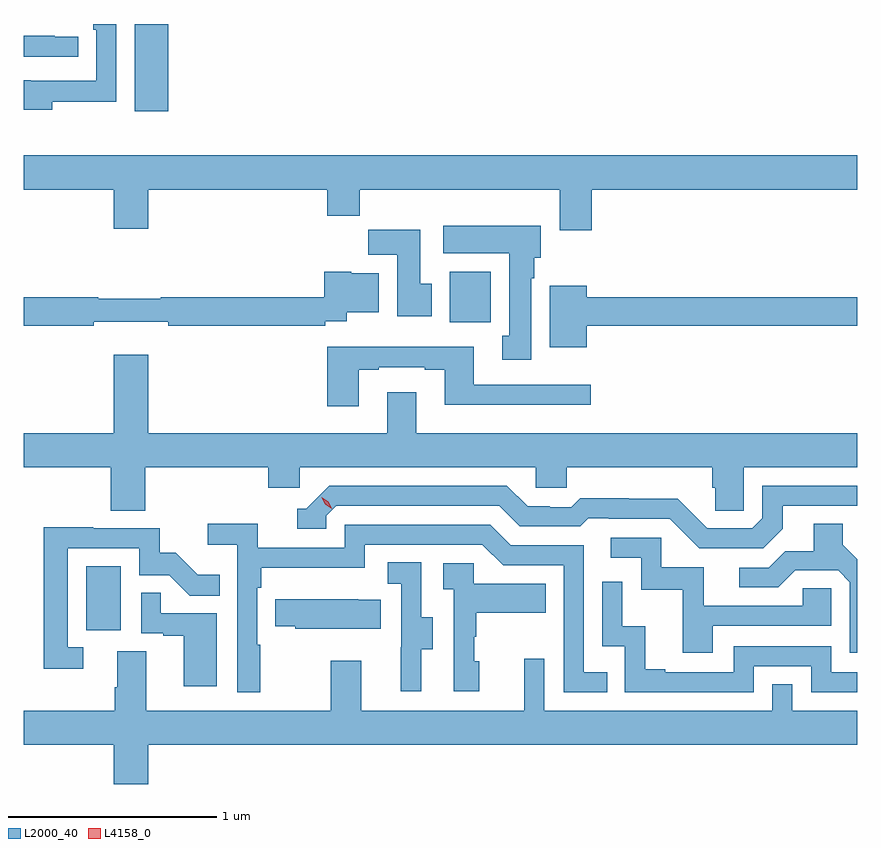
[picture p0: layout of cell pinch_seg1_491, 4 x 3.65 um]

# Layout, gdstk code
import gdstk
lib = gdstk.Library(unit=1e-6, precision=1e-09)
def R(c, l, rs):  # rectangles x0, y0, x1, y1
    for r in rs: c.add(gdstk.rectangle(r[:2], r[2:], *l))
def P(c, l, *ps):  # polygons
    for p in ps: c.add(gdstk.Polygon(p, *l))
L2000_40 = (2000, 40)
L4158_0 = (4158, 0)

pinch_seg1_491 = lib.new_cell('pinch_seg1_491')
R(pinch_seg1_491, L2000_40, [(1141.898,537.63,1142.062,537.937), (1143.641,539.108,1143.838,539.35), (1142.129,540.12,1142.29,540.539)])
P(pinch_seg1_491, L2000_40, [(1141.735,540.166),(1142.04,540.166),(1142.04,540.539),(1141.931,540.539),(1141.931,540.512),(1141.944,540.512),(1141.944,540.267),(1141.631,540.267),(1141.631,540.268),(1141.597,540.268),(1141.597,540.128),(1141.735,540.128)],
  [(1141.858,540.477),(1141.745,540.477),(1141.745,540.482),(1141.597,540.482),(1141.597,540.381),(1141.858,540.381)],
  [(1144.322,539.744),(1145.597,539.744),(1145.597,539.908),(1141.597,539.908),(1141.597,539.744),(1142.03,539.744),(1142.03,539.556),(1142.194,539.556),(1142.194,539.744),(1143.053,539.744),(1143.053,539.62),(1143.209,539.62),(1143.209,539.744),(1144.169,539.744),(1144.169,539.55),(1144.322,539.55)],
  [(1144.033,539.318),(1144.048,539.318),(1144.048,539.418),(1144.078,539.418),(1144.078,539.572),(1143.609,539.572),(1143.609,539.438),(1143.926,539.438),(1143.926,539.042),(1143.893,539.042),(1143.893,538.929),(1144.033,538.929)],
  [(1143.556,539.292),(1143.499,539.292),(1143.499,539.551),(1143.25,539.551),(1143.25,539.432),(1143.389,539.432),(1143.389,539.136),(1143.556,539.136)],
  [(1141.934,539.111),(1142.29,539.111),(1142.29,539.092),(1143.044,539.092),(1143.044,539.112),(1143.147,539.112),(1143.147,539.156),(1143.301,539.156),(1143.301,539.344),(1143.168,539.344),(1143.168,539.35),(1143.039,539.35),(1143.039,539.228),(1142.254,539.228),(1142.254,539.221),(1141.954,539.221),(1141.954,539.228),(1141.597,539.228),(1141.597,539.092),(1141.934,539.092)],
  [(1144.3,539.092),(1145.597,539.092),(1145.597,539.228),(1144.3,539.228),(1144.3,539.284),(1144.121,539.284),(1144.121,538.988),(1144.3,538.988)],
  [(1143.205,538.881),(1143.301,538.881),(1143.301,538.893),(1143.521,538.893),(1143.521,538.881),(1143.617,538.881),(1143.617,538.712),(1144.318,538.712),(1144.318,538.809),(1143.757,538.809),(1143.757,538.99),(1143.053,538.99),(1143.053,538.704),(1143.205,538.704)],
  [(1142.18,538.412),(1142.771,538.412),(1142.771,538.314),(1142.922,538.314),(1142.922,538.412),(1144.053,538.412),(1144.053,538.314),(1144.203,538.314),(1144.203,538.412),(1144.901,538.412),(1144.901,538.314),(1144.915,538.314),(1144.915,538.204),(1145.052,538.204),(1145.052,538.412),(1145.597,538.412),(1145.597,538.576),(1143.481,538.576),(1143.481,538.771),(1143.341,538.771),(1143.341,538.576),(1142.194,538.576),(1142.194,538.951),(1142.03,538.951),(1142.03,538.576),(1141.597,538.576),(1141.597,538.412),(1142.015,538.412),(1142.015,538.204),(1142.18,538.204)],
  [(1145.239,538.117),(1145.239,538.227),(1145.597,538.227),(1145.597,538.323),(1145.142,538.323),(1145.142,538.167),(1145.094,538.119),(1144.878,538.119),(1144.736,538.261),(1144.5,538.261),(1144.5,538.264),(1144.267,538.264),(1144.225,538.221),(1144.122,538.221),(1144.122,538.224),(1144.015,538.224),(1143.916,538.323),(1143.063,538.323),(1142.952,538.212),(1142.909,538.212),(1142.909,538.116),(1143.048,538.116),(1143.048,538.179),(1143.096,538.227),(1143.879,538.227),(1143.978,538.128),(1144.267,538.128),(1144.306,538.167),(1144.405,538.167),(1144.405,538.164),(1144.698,538.164),(1144.839,538.023),(1145.145,538.023)],
  [(1142.731,537.56),(1142.718,537.56),(1142.718,537.833),(1142.738,537.833),(1142.738,537.929),(1143.234,537.929),(1143.234,538.041),(1143.798,538.041),(1143.897,537.942),(1144.188,537.942),(1144.188,537.333),(1144.397,537.333),(1144.397,537.429),(1144.284,537.429),(1144.284,538.038),(1143.934,538.038),(1143.835,538.137),(1143.138,538.137),(1143.138,538.026),(1142.72,538.026),(1142.72,538.142),(1142.481,538.142),(1142.481,538.04),(1142.622,538.04),(1142.622,537.333),(1142.731,537.333)],
  [(1145.597,537.97),(1145.527,538.04),(1145.527,538.142),(1145.387,538.142),(1145.387,538.01),(1145.252,538.01),(1145.172,537.93),(1145.031,537.93),(1145.031,537.837),(1145.218,537.837),(1145.299,537.918),(1145.505,537.918),(1145.562,537.861),(1145.562,537.522),(1145.597,537.522)],
  [(1141.882,537.549),(1141.809,537.549),(1141.809,538.023),(1142.151,538.023),(1142.151,537.894),(1142.295,537.894),(1142.393,537.796),(1142.537,537.796),(1142.537,537.895),(1142.433,537.895),(1142.326,538.002),(1142.25,538.002),(1142.25,538.119),(1141.931,538.119),(1141.931,538.124),(1141.693,538.124),(1141.693,537.444),(1141.882,537.444)],
  [(1144.903,537.651),(1145.472,537.651),(1145.472,537.831),(1145.335,537.831),(1145.335,537.747),(1144.861,537.747),(1144.861,537.933),(1144.656,537.933),(1144.656,538.074),(1144.413,538.074),(1144.413,537.978),(1144.56,537.978),(1144.56,537.825),(1144.759,537.825),(1144.759,537.522),(1144.903,537.522)],
  [(1143.505,537.538),(1143.559,537.538),(1143.559,537.693),(1143.504,537.693),(1143.504,537.956),(1143.345,537.956),(1143.345,537.853),(1143.408,537.853),(1143.408,537.549),(1143.407,537.549),(1143.407,537.336),(1143.505,537.336)],
  [(1143.784,537.48),(1143.759,537.48),(1143.759,537.599),(1143.769,537.599),(1143.769,537.713),(1144.103,537.713),(1144.103,537.853),(1143.756,537.853),(1143.756,537.951),(1143.609,537.951),(1143.609,537.827),(1143.66,537.827),(1143.66,537.336),(1143.784,537.336)],
  [(1145.1,537.456),(1145.376,537.456),(1145.376,537.333),(1145.597,537.333),(1145.597,537.429),(1145.472,537.429),(1145.472,537.552),(1145.004,537.552),(1145.004,537.429),(1144.675,537.429),(1144.675,537.442),(1144.58,537.442),(1144.58,537.65),(1144.47,537.65),(1144.47,537.862),(1144.374,537.862),(1144.374,537.552),(1144.482,537.552),(1144.482,537.333),(1145.1,537.333)],
  [(1142.524,537.711),(1142.255,537.711),(1142.255,537.809),(1142.16,537.809),(1142.16,537.615),(1142.267,537.615),(1142.267,537.603),(1142.366,537.603),(1142.366,537.36),(1142.524,537.36)],
  [(1143.311,537.775),(1143.203,537.775),(1143.203,537.778),(1142.803,537.778),(1142.803,537.649),(1142.901,537.649),(1142.901,537.638),(1143.311,537.638)],
  [(1142.194,537.08),(1145.597,537.08),(1145.597,537.244),(1145.286,537.244),(1145.286,537.371),(1145.19,537.371),(1145.19,537.244),(1144.095,537.244),(1144.095,537.493),(1143.998,537.493),(1143.998,537.244),(1143.217,537.244),(1143.217,537.484),(1143.07,537.484),(1143.07,537.244),(1142.185,537.244),(1142.185,537.53),(1142.045,537.53),(1142.045,537.356),(1142.033,537.356),(1142.033,537.244),(1141.597,537.244),(1141.597,537.08),(1142.03,537.08),(1142.03,536.892),(1142.194,536.892)])
P(pinch_seg1_491, L4158_0, [(1143.074,538.214),(1143.043,538.234),(1143.026,538.266),(1143.026,538.267),(1143.027,538.267),(1143.058,538.247),(1143.074,538.215),(1143.074,538.214)])

lib.write_gds('pinch_seg1_491.gds')
